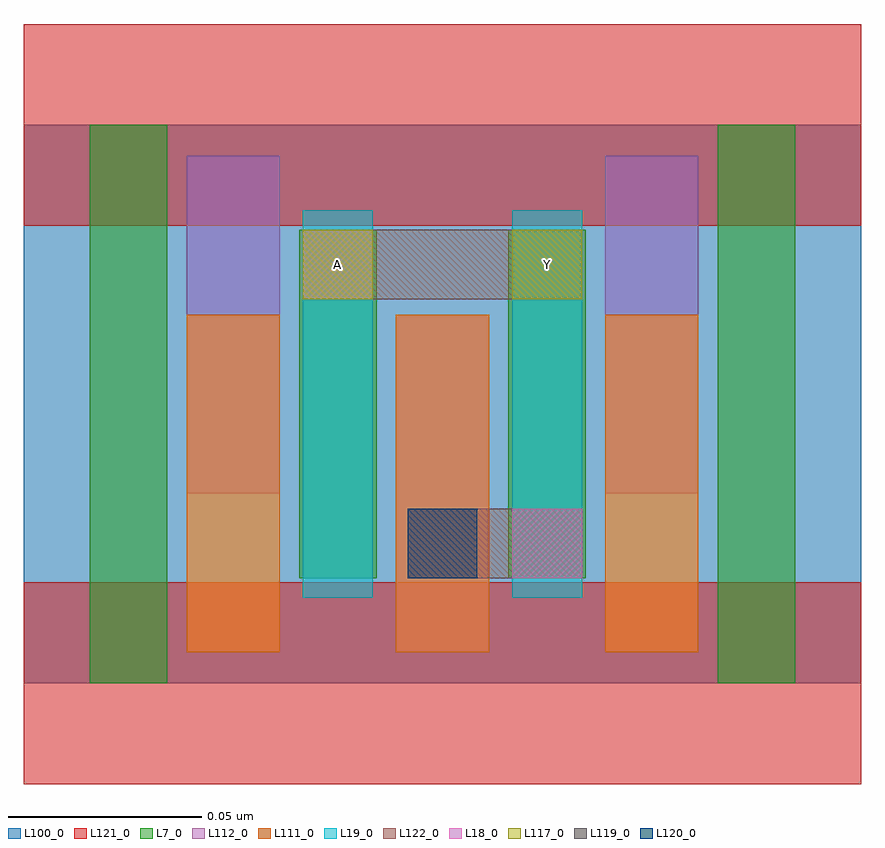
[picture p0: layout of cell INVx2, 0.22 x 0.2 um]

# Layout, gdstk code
import gdstk
lib = gdstk.Library(unit=1e-6, precision=2.5e-10)
def R(c, l, rs):  # rectangles x0, y0, x1, y1
    for r in rs: c.add(gdstk.rectangle(r[:2], r[2:], *l))
def A(c, l, x, y, w, h, nx, ny, dx, dy):  # array of equal rectangles
    R(c, l, [(x+i*dx, y+j*dy, x+i*dx+w, y+j*dy+h) for i in range(nx) for j in range(ny)])
L7_0 = (7, 0)
L18_0 = (18, 0)
L19_0 = (19, 0)
L100_0 = (100, 0)
L111_0 = (111, 0)
L112_0 = (112, 0)
L117_0 = (117, 0)
L119_0 = (119, 0)
L120_0 = (120, 0)
L121_0 = (121, 0)
L122_0 = (122, 0)

invx2 = lib.new_cell('INVx2')
R(invx2, L7_0, [(0.017,0,0.037,0.144), (0.179,0,0.199,0.144), (0.071,0.027,0.091,0.117), (0.125,0.027,0.145,0.117)])
R(invx2, L18_0, [(0.126,0.027,0.144,0.045), (0.072,0.099,0.09,0.117)])
R(invx2, L19_0, [(0.072,0.022,0.09,0.122), (0.126,0.022,0.144,0.122)])
R(invx2, L100_0, [(0,0,0.216,0.144)])
A(invx2, L111_0, 0.042, 0.008, 0.024, 0.087, 3, 1, 0.054, 0)
R(invx2, L112_0, [(0.096,0.008,0.12,0.095), (0.042,0.049,0.066,0.136), (0.15,0.049,0.174,0.136)])
R(invx2, L117_0, [(0.072,0.099,0.09,0.117), (0.126,0.099,0.144,0.117)])
R(invx2, L119_0, [(0.099,0.027,0.117,0.045)])
R(invx2, L120_0, [(0.099,0.027,0.117,0.045)])
R(invx2, L121_0, [(0,-0.026,0.216,0.026), (0,0.118,0.216,0.17)])
R(invx2, L122_0, [(0.099,0.027,0.144,0.045), (0.072,0.099,0.144,0.117)])
invx2.add(gdstk.Label('Y', (0.135,0.108), layer=19, texttype=251))
invx2.add(gdstk.Label('A', (0.081,0.108), layer=19, texttype=251))

lib.write_gds('INVx2.gds')
